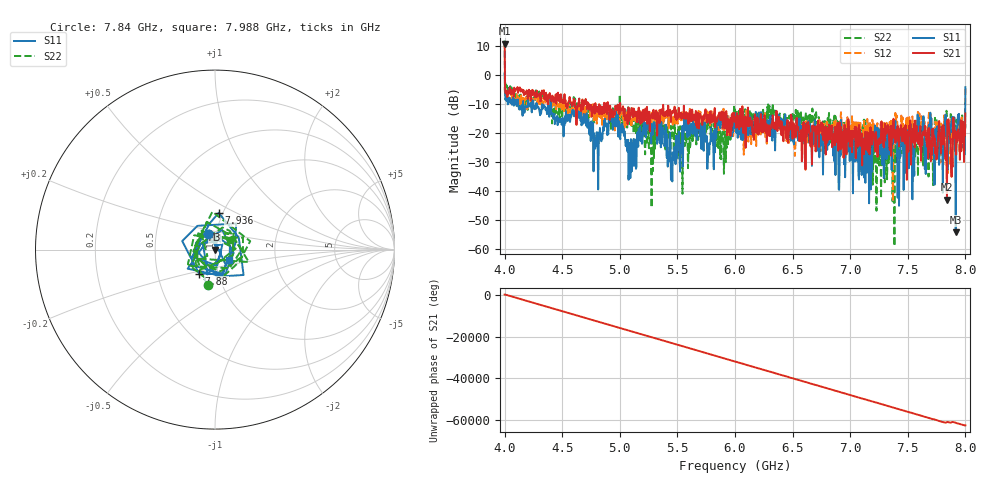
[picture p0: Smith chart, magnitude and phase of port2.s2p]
# Hz S RI R 50
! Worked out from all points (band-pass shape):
!   1001 points, 4 GHz to 8 GHz, reference 50 ohm
!   highest |S21| = 10.69 dB at 4 GHz (marker M1); lowest = -42.9 dB at 7.84 GHz (marker M2)
!   |S21| within 3 dB of the highest: start of sweep to 4.000812 GHz
!   lowest |S11| = -54.1 dB at 7.916 GHz (marker M3), VSWR 1.00, Z = 49.8 - j0.0108 ohm
!   |S11| at or under -10 dB: 4.119 GHz to 4.159 GHz (40.72 MHz wide, 0.984 % of centre); 4.279 GHz to 4.398 GHz (118.8 MHz wide, 2.74 % of centre); 4.401 GHz to 7.999 GHz (3.598 GHz wide, 58 % of centre) (the widest 3 of 12)
!   |S22| runs from -58.9 to 11.8 dB; largest |S21 - S12| = 3.6
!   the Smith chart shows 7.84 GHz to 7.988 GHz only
!   S11 on the Smith chart (normalised r, x): 7.84 GHz: 0.91, +0.16; 7.88 GHz: 0.81, -0.22; 7.936 GHz: 0.96, +0.41; 7.988 GHz: 1.17, -0.13
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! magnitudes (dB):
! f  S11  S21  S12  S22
! 4 GHz  0.5  10.7  -4.3  11.8
! 4.164 GHz  -11.4  -5.2  -8.4  -8.5
! 4.668 GHz  -17.4  -11.9  -14.8  -11.4
! 4.792 GHz  -23.7  -11.6  -12.6  -12.5
! 4.964 GHz  -17.8  -10.7  -13.4  -13.3
! 5.088 GHz  -23.5  -15.1  -14.3  -17.0
! 5.276 GHz  -16.9  -13.5  -16.8  -45.7
! 5.336 GHz  -19.7  -15.9  -14.4  -19.8
! 5.464 GHz  -29.1  -12.4  -14.1  -17.3
! 5.58 GHz  -14.5  -14.6  -14.5  -21.8
! 5.768 GHz  -23.6  -14.0  -14.3  -17.2
! 5.888 GHz  -14.9  -15.2  -18.6  -22.8
! 6 GHz  -13.3  -15.0  -19.4  -11.8
! 6.668 GHz  -31.3  -30.8  -18.2  -13.1
! 7.168 GHz  -27.8  -27.4  -18.4  -20.2
! 7.336 GHz  -27.4  -20.7  -23.7  -30.3
! 7.84 GHz  -20.3  -42.9  -22.1  -13.9
! 7.88 GHz  -15.9  -35.1  -18.2  -16.4
! 7.916 GHz  -54.1  -25.8  -18.2  -19.7
! 7.936 GHz  -13.7  -18.8  -19.2  -17.9
! 7.988 GHz  -20.2  -30.0  -18.7  -20.2
! 8 GHz  -4.3  -13.3  -4.8  -17.0
